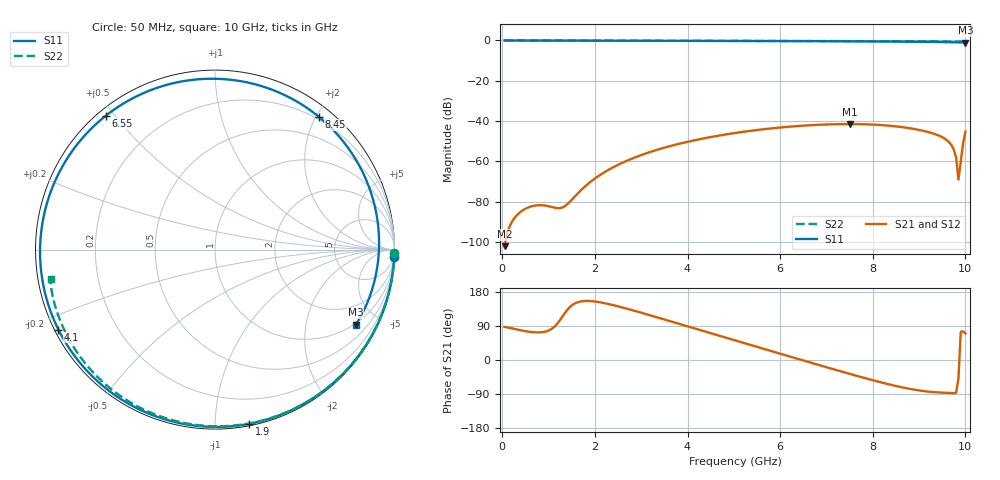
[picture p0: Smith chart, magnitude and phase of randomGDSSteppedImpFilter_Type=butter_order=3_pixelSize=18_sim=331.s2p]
! freq	dB(S11)	phase(S11)	dB(S12)	phase(S12)
!  dB(S21)	phase(S21)	dB(S22)	phase(S22)
!S-par simulation data
#  GHz  S  DB  R 50
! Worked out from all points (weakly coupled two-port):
!   200 points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, 50 MHz to 10 GHz, reference 50 ohm
!   highest |S21| = -41.45 dB at 7.5 GHz (marker M1); lowest = -102.0 dB at 50 MHz (marker M2)
!   lowest |S11| = -1.0 dB at 10 GHz (marker M3), VSWR 17.05, Z = 47.1 - j189 ohm
!   |S11| at or under -10 dB: nowhere
!   |S22| runs from -0.6 to 0.0 dB; largest |S21 - S12| = 0
!   S11 on the Smith chart (normalised r, x): 50 MHz: 1, -51; 1.9 GHz: 0.01, -1.22; 4.1 GHz: 0.01, -0.24; 6.55 GHz: 0.02, +0.47; 8.45 GHz: 0.16, +2.04; 10 GHz: 0.94, -3.77
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0.05  -0.01 -2.2  -102.01 87.3  -102.01 87.3  -0.00 -1.0
0.7  -0.03 -30.4  -81.92 73.1  -81.92 73.1  -0.02 -13.5
1.45  -0.07 -61.4  -80.19 138.6  -80.19 138.6  -0.03 -27.7
1.75  -0.09 -73.1  -73.15 155.5  -73.15 155.5  -0.04 -33.3
1.9  -0.09 -78.8  -70.19 155.6  -70.19 155.6  -0.05 -36.1
2.55  -0.12 -102.5  -61.10 140.0  -61.10 140.0  -0.06 -48.0
3.4  -0.15 -130.9  -53.83 110.5  -53.83 110.5  -0.08 -63.1
4.1  -0.18 -152.9  -49.74 85.2  -49.74 85.2  -0.11 -75.1
5.05  -0.23 177.9  -45.80 50.8  -45.80 50.8  -0.14 -90.9
5.8  -0.28 154.3  -43.63 23.8  -43.63 23.8  -0.18 -103.0
6.55  -0.33 129.2  -42.18 -3.1  -42.18 -3.1  -0.22 -114.8
6.7  -0.34 123.9  -41.97 -8.4  -41.97 -8.4  -0.23 -117.1
7.5  -0.42 93.5  -41.45 -36.6  -41.45 -36.6  -0.29 -129.5
8.35  -0.53 56.6  -42.26 -64.3  -42.26 -64.3  -0.37 -142.7
8.45  -0.54 51.9  -42.47 -67.2  -42.47 -67.2  -0.38 -144.2
9.05  -0.66 22.4  -44.60 -81.2  -44.60 -81.2  -0.44 -153.7
9.6  -0.83 -6.6  -49.45 -86.8  -49.45 -86.8  -0.52 -162.7
9.75  -0.89 -14.7  -54.16 -87.4  -54.16 -87.4  -0.54 -165.3
9.8  -0.91 -17.4  -58.07 -86.4  -58.07 -86.4  -0.55 -166.2
9.85  -0.93 -20.1  -68.98 -49.3  -68.98 -49.3  -0.57 -167.1
9.95  -0.99 -25.5  -51.07 75.5  -51.07 75.5  -0.61 -169.0
10  -1.02 -28.1  -45.23 70.2  -45.23 70.2  -0.64 -169.9
